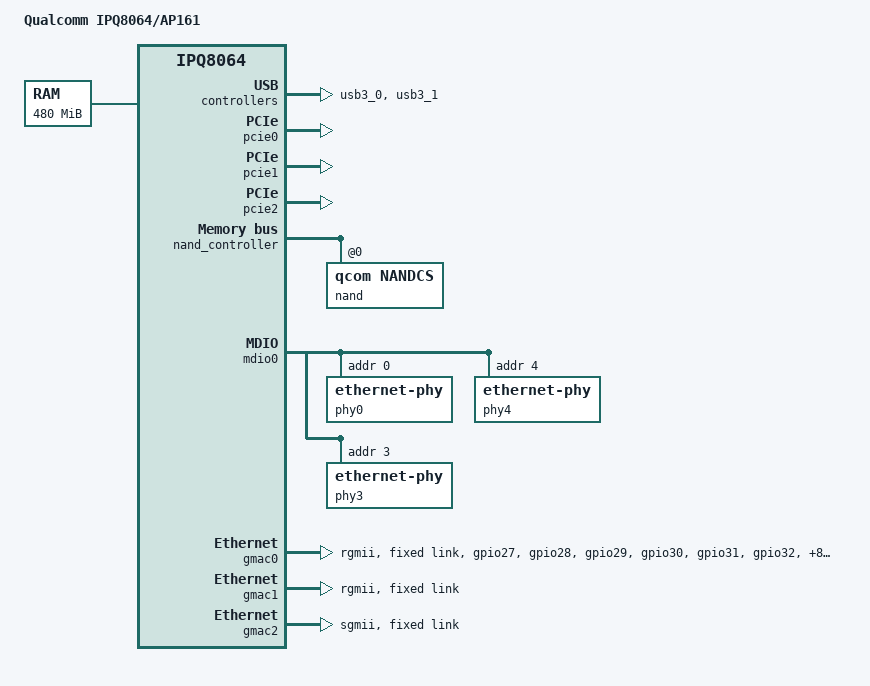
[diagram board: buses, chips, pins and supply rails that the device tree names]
#include "qcom-ipq8064-v1.0.dtsi"

/ {
	model = "Qualcomm IPQ8064/AP161";
	compatible = "qcom,ipq8064-ap161", "qcom,ipq8064";

	memory@0 {
		reg = <0x42000000 0x1e000000>;
		device_type = "memory";
	};

	reserved-memory {
		#address-cells = <1>;
		#size-cells = <1>;
		ranges;
		rsvd@41200000 {
			reg = <0x41200000 0x300000>;
			no-map;
		};
	};

	aliases {
		mdio-gpio0 = &mdio0;
	};
};

&qcom_pinmux {
	rgmii2_pins: rgmii2_pins {
		mux {
			pins = "gpio27", "gpio28", "gpio29",
			       "gpio30", "gpio31", "gpio32",
			       "gpio51", "gpio52", "gpio59",
			       "gpio60", "gpio61", "gpio62",
			       "gpio2", "gpio66";
		};
	};
};

&flash {
	partitions {
		compatible = "qcom,smem-part";
	};
};

&usb3_0 {
	status = "okay";
};

&usb3_1 {
	status = "okay";
};

&pcie0 {
	status = "okay";
};

&pcie1 {
	status = "okay";
	max-link-speed = <1>;
};

&pcie2 {
	status = "okay";
};

&nand_controller {
	status = "okay";

	pinctrl-0 = <&nand_pins>;
	pinctrl-names = "default";

	nand@0 {
		reg = <0>;
		compatible = "qcom,nandcs";

		nand-ecc-strength = <4>;
		nand-bus-width = <8>;
		nand-ecc-step-size = <512>;

		partitions {
			compatible = "qcom,smem-part";
		};
	};
};

&mdio0 {
	status = "okay";

	pinctrl-0 = <&mdio0_pins>;
	pinctrl-names = "default";

	phy0: ethernet-phy@0 {
		reg = <0>;
		qca,ar8327-initvals = <
			0x00004 0x7600000   /* PAD0_MODE */
			0x00008 0x1000000   /* PAD5_MODE */
			0x0000c 0x20080     /* PAD6_MODE */
			0x000e4 0x6a545     /* MAC_POWER_SEL */
			0x000e0 0xc74164de  /* SGMII_CTRL */
			0x0007c 0x4e        /* PORT0_STATUS */
			0x00094 0x4e        /* PORT6_STATUS */
			>;
	};

	phy4: ethernet-phy@4 {
		reg = <4>;
		qca,phy-rgmii-en;
		qca,txclk-delay-en;
		qca,rxclk-delay-en;
	};

	phy3: ethernet-phy@3 {
		device_type = "ethernet-phy";
		reg = <3>;
	};
};

&gmac0 {
	status = "okay";
	phy-mode = "rgmii";
	qcom,id = <0>;

	pinctrl-0 = <&rgmii2_pins>;
	pinctrl-names = "default";
	mdiobus = <&mdio0>;

	fixed-link {
		speed = <1000>;
		full-duplex;
	};
};

&gmac1 {
	status = "okay";
	phy-mode = "rgmii";
	qcom,id = <1>;
	mdiobus = <&mdio0>;

	fixed-link {
		speed = <1000>;
		full-duplex;
	};
};

&gmac2 {
	status = "okay";
	phy-mode = "sgmii";
	qcom,id = <2>;
	mdiobus = <&mdio0>;

	fixed-link {
		speed = <1000>;
		full-duplex;
	};
};

&adm_dma {
	status = "okay";
};
